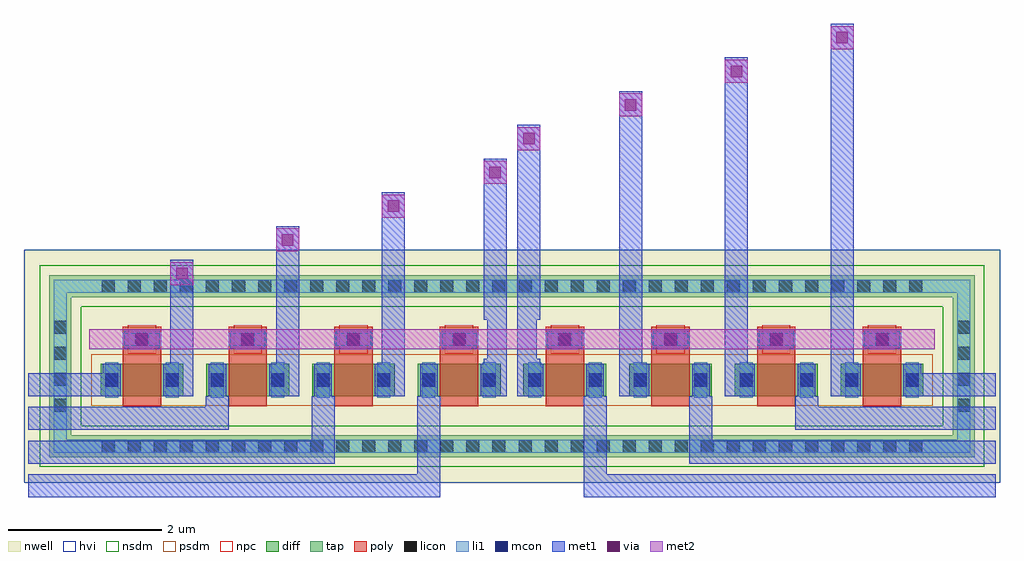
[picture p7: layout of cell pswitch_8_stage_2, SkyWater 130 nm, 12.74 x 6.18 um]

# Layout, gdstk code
import gdstk
lib = gdstk.Library(unit=1e-6, precision=1e-09)
def R(c, l, rs):  # rectangles x0, y0, x1, y1
    for r in rs: c.add(gdstk.rectangle(r[:2], r[2:], *l))
def A(c, l, x, y, w, h, nx, ny, dx, dy):  # array of equal rectangles
    R(c, l, [(x+i*dx, y+j*dy, x+i*dx+w, y+j*dy+h) for i in range(nx) for j in range(ny)])
nwell = (64, 20)
diff = (65, 20)
tap = (65, 44)
poly = (66, 20)
licon = (66, 44)
li1 = (67, 20)
mcon = (67, 44)
met1 = (68, 20)
via = (68, 44)
met2 = (69, 20)
hvi = (75, 20)
nsdm = (93, 44)
psdm = (94, 20)
npc = (95, 20)

sky130_fd_pr__pfet_g5v0d = lib.new_cell('sky130_fd_pr__pfet_g5v0d10v5_WJ97JY')
R(sky130_fd_pr__pfet_g5v0d, nwell, [(-0.72,-0.7,0.72,0.53)])
R(sky130_fd_pr__pfet_g5v0d, diff, [(-0.54,-0.39,0.54,0.03)])
R(sky130_fd_pr__pfet_g5v0d, poly, [(-0.25,-0.52,0.25,0.515)])
R(sky130_fd_pr__pfet_g5v0d, licon, [(-0.48,-0.265,-0.31,-0.095), (0.31,-0.265,0.48,-0.095), (-0.085,0.265,0.085,0.435)])
R(sky130_fd_pr__pfet_g5v0d, li1, [(-0.48,-0.41,-0.31,0.05), (0.31,-0.41,0.48,0.05), (-0.25,0.265,0.25,0.435)])
R(sky130_fd_pr__pfet_g5v0d, mcon, [(-0.48,-0.265,-0.31,-0.095), (0.31,-0.265,0.48,-0.095), (-0.085,0.265,0.085,0.435)])
R(sky130_fd_pr__pfet_g5v0d, met1, [(-0.51,-0.39,-0.28,0.03), (0.28,-0.39,0.51,0.03), (-0.23,0.235,0.23,0.465)])
R(sky130_fd_pr__pfet_g5v0d, hvi, [(-0.72,-0.7,0.72,-0.6), (-1.145,-0.6,1.145,0.24), (-0.72,0.24,0.72,0.53)])
R(sky130_fd_pr__pfet_g5v0d, psdm, [(-0.665,-0.515,0.665,0.155)])
R(sky130_fd_pr__pfet_g5v0d, npc, [(-0.185,0.165,0.185,0.535)])

hpmos_1 = lib.new_cell('hpmos_1')
R(hpmos_1, met1, [(9.99,-15.165,10.31,-14.905)])
R(hpmos_1, via, [(10.075,-15.11,10.225,-14.96)])
R(hpmos_1, met2, [(9.46,-15.165,10.84,-14.905)])
hpmos_1.add(gdstk.Reference(sky130_fd_pr__pfet_g5v0d, (10.15,-15.385)))

hpmos_2 = lib.new_cell('hpmos_2')
R(hpmos_2, psdm, [(12.36,-15.745,12.41,-15.075)])
hpmos_2.add(gdstk.Reference(hpmos_1, (2.925,0.155)))
hpmos_2.add(gdstk.Reference(hpmos_1, (1.545,0.155)))

hpmos_4 = lib.new_cell('hpmos_4')
R(hpmos_4, psdm, [(4.805,0.36,4.855,1.03)])
hpmos_4.add(gdstk.Reference(hpmos_2, (-6.175,16.105)))
hpmos_4.add(gdstk.Reference(hpmos_2, (-8.935,16.105)))

hpmos_8 = lib.new_cell('hpmos_8')
R(hpmos_8, nwell, [(1.135,-0.86,13.875,2.18)])
R(hpmos_8, tap, [(1.465,-0.53,13.545,-0.24), (1.465,-0.24,1.755,1.56), (13.255,-0.24,13.545,1.56), (1.465,1.56,13.545,1.85)])
A(hpmos_8, licon, 2.15, -0.47, 0.17, 0.17, 32, 2, 0.34, 2.09)
A(hpmos_8, licon, 1.525, 0.065, 0.17, 0.17, 1, 4, 0, 0.34)
A(hpmos_8, licon, 13.315, 0.065, 0.17, 0.17, 1, 4, 0, 0.34)
R(hpmos_8, li1, [(1.525,-0.47,13.485,-0.3), (1.525,-0.3,1.695,1.62), (13.315,-0.3,13.485,1.62), (1.525,1.62,13.485,1.79)])
R(hpmos_8, hvi, [(1.135,-0.86,13.875,2.18)])
R(hpmos_8, nsdm, [(1.34,-0.655,13.67,-0.115), (1.34,-0.115,1.88,1.435), (13.13,-0.115,13.67,1.435), (1.34,1.435,13.67,1.975)])
R(hpmos_8, psdm, [(7.48,0.145,7.53,0.815)])
hpmos_8.add(gdstk.Reference(hpmos_4, (5.435,-0.215)))
hpmos_8.add(gdstk.Reference(hpmos_4, (-0.085,-0.215)))

pswitch_8_stage_2 = lib.new_cell('pswitch_8_stage_2')
R(pswitch_8_stage_2, met1, [(171.455,-28.25,176.835,-27.95), (178.705,-28.25,184.085,-27.95), (176.535,-27.95,176.835,-26.93), (178.705,-27.95,179.005,-26.93), (171.455,-27.81,175.455,-27.51), (180.085,-27.81,184.085,-27.51), (175.155,-27.51,175.455,-26.93), (180.085,-27.51,180.385,-26.93), (171.455,-27.37,174.075,-27.07), (181.465,-27.37,184.085,-27.07), (173.775,-27.07,174.075,-26.93), (181.465,-27.07,181.765,-26.93), (171.455,-26.93,172.43,-26.63), (173.31,-26.93,173.61,-25.15), (174.69,-26.93,174.99,-24.71), (176.07,-26.93,176.37,-24.27), (177.4,-26.93,177.7,-26.445), (177.84,-26.93,178.14,-26.445), (179.17,-26.93,179.47,-22.95), (180.55,-26.93,180.85,-22.51), (181.93,-26.93,182.23,-22.07), (183.11,-26.93,184.085,-26.63), (177.45,-26.445,177.7,-25.935), (177.84,-26.445,178.09,-25.935), (177.4,-25.935,177.7,-23.83), (177.84,-25.935,178.14,-23.39)])
R(pswitch_8_stage_2, via, [(173.385,-25.405,173.535,-25.255), (174.765,-24.965,174.915,-24.815), (176.145,-24.525,176.295,-24.375), (177.475,-24.085,177.625,-23.935), (177.915,-23.645,178.065,-23.495), (179.245,-23.205,179.395,-23.055), (180.625,-22.765,180.775,-22.615), (182.005,-22.325,182.155,-22.175)])
R(pswitch_8_stage_2, met2, [(173.31,-25.48,173.61,-25.18), (174.69,-25.04,174.99,-24.74), (176.07,-24.6,176.37,-24.3), (177.4,-24.16,177.7,-23.86), (177.84,-23.72,178.14,-23.42), (179.17,-23.28,179.47,-22.98), (180.55,-22.84,180.85,-22.54), (181.93,-22.4,182.23,-22.1)])
pswitch_8_stage_2.add(gdstk.Reference(hpmos_8, (170.265,-27.2)))

lib.write_gds('pswitch_8_stage_2.gds')
